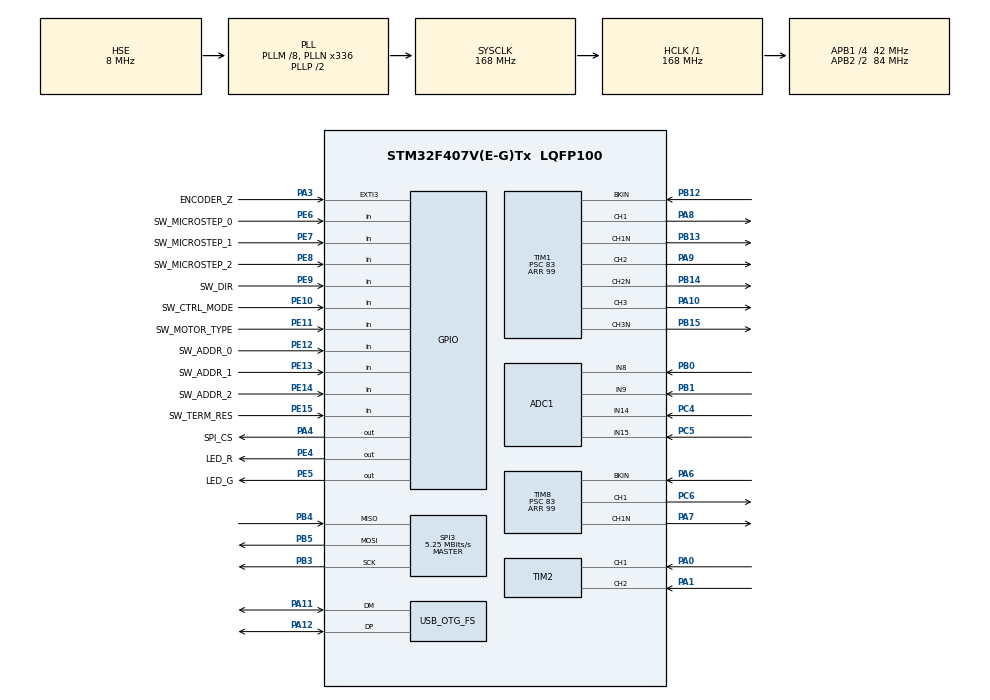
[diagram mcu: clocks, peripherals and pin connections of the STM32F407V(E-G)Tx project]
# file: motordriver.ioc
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ADC1.Channel-0\#ChannelRegularConversion=ADC_CHANNEL_8
ADC1.Channel-1\#ChannelInjectedConversion=ADC_CHANNEL_14
ADC1.Channel-2\#ChannelInjectedConversion=ADC_CHANNEL_15
ADC1.EOCSelection=ADC_EOC_SINGLE_CONV
ADC1.ExternalTrigInjecConv=ADC_INJECTED_SOFTWARE_START
ADC1.ExternalTrigInjecConvEdge=ADC_EXTERNALTRIGINJECCONVEDGE_NONE
ADC1.InjNumberOfConversion=2
ADC1.InjectedOffset-1\#ChannelInjectedConversion=0
ADC1.InjectedOffset-2\#ChannelInjectedConversion=0
ADC1.InjectedRank-1\#ChannelInjectedConversion=1
ADC1.InjectedRank-2\#ChannelInjectedConversion=2
ADC1.NbrOfConversionFlag=1
ADC1.Rank-0\#ChannelRegularConversion=1
ADC1.SamplingTime-0\#ChannelRegularConversion=ADC_SAMPLETIME_84CYCLES
ADC1.SamplingTime-1\#ChannelInjectedConversion=ADC_SAMPLETIME_56CYCLES
ADC1.SamplingTime-2\#ChannelInjectedConversion=ADC_SAMPLETIME_56CYCLES
ADC1.ScanConvMode=ENABLE
ADC1.master=1
Mcu.Family=STM32F4
Mcu.Name=STM32F407V(E-G)Tx
Mcu.Package=LQFP100
NVIC.ADC_IRQn=true\:4\:0\:true\:false\:true\:true\:true\:true
NVIC.EXTI3_IRQn=true\:6\:0\:true\:false\:true\:true\:true\:true
NVIC.OTG_FS_IRQn=true\:7\:0\:true\:false\:true\:false\:true\:true
NVIC.PriorityGroup=NVIC_PRIORITYGROUP_4
NVIC.TIM6_DAC_IRQn=true\:5\:0\:true\:false\:true\:true\:true\:true
PA0-WKUP.GPIO_PuPd=GPIO_NOPULL
PA0-WKUP.GPIO_Speed=GPIO_SPEED_FREQ_HIGH
PA0-WKUP.Signal=S_TIM2_CH1_ETR
PA1.GPIO_Speed=GPIO_SPEED_FREQ_HIGH
PA1.Signal=S_TIM2_CH2
PA10.Signal=S_TIM1_CH3
PA11.Mode=Device_Only
PA11.Signal=USB_OTG_FS_DM
PA12.Mode=Device_Only
PA12.Signal=USB_OTG_FS_DP
PA13.Mode=Serial_Wire
PA13.Signal=SYS_JTMS-SWDIO
PA14.Mode=Serial_Wire
PA14.Signal=SYS_JTCK-SWCLK
PA3.GPIO_Label=ENCODER_Z
PA3.GPIO_ModeDefaultEXTI=GPIO_MODE_IT_RISING
PA3.Signal=GPXTI3
PA4.GPIO_Label=SPI_CS
PA4.GPIO_Speed=GPIO_SPEED_FREQ_HIGH
PA4.PinState=GPIO_PIN_SET
PA4.Signal=GPIO_Output
PA6.GPIO_PuPd=GPIO_PULLUP
PA6.Mode=Activate-Break-Input
PA6.Signal=TIM8_BKIN
PA7.Mode=PWM Generation1 CH1 CH1N
PA7.Signal=TIM8_CH1N
PA8.Signal=S_TIM1_CH1
PA9.Signal=S_TIM1_CH2
PB0.Signal=ADCx_IN8
PB1.Signal=ADCx_IN9
PB12.GPIO_PuPd=GPIO_PULLUP
PB12.Mode=Activate-Break-Input
PB12.Signal=TIM1_BKIN
PB13.Mode=PWM Generation1 CH1 CH1N
PB13.Signal=TIM1_CH1N
PB14.Mode=PWM Generation2 CH2 CH2N
PB14.Signal=TIM1_CH2N
PB15.Mode=PWM Generation3 CH3 CH3N
PB15.Signal=TIM1_CH3N
PB3.Mode=Full_Duplex_Master
PB3.Signal=SPI3_SCK
PB4.Mode=Full_Duplex_Master
PB4.Signal=SPI3_MISO
PB5.Mode=Full_Duplex_Master
PB5.Signal=SPI3_MOSI
PC4.Signal=ADCx_IN14
PC5.Signal=ADCx_IN15
PC6.Signal=S_TIM8_CH1
PE10.GPIO_Label=SW_CTRL_MODE
PE10.GPIO_PuPd=GPIO_PULLUP
PE10.Signal=GPIO_Input
PE11.GPIO_Label=SW_MOTOR_TYPE
PE11.GPIO_PuPd=GPIO_PULLUP
PE11.Signal=GPIO_Input
PE12.GPIO_Label=SW_ADDR_0
PE12.GPIO_PuPd=GPIO_PULLUP
PE12.Signal=GPIO_Input
PE13.GPIO_Label=SW_ADDR_1
PE13.GPIO_PuPd=GPIO_PULLUP
PE13.Signal=GPIO_Input
PE14.GPIO_Label=SW_ADDR_2
PE14.GPIO_PuPd=GPIO_PULLUP
PE14.Signal=GPIO_Input
PE15.GPIO_Label=SW_TERM_RES
PE15.GPIO_PuPd=GPIO_PULLUP
PE15.Signal=GPIO_Input
PE4.GPIO_Label=LED_R
PE4.GPIO_PuPd=GPIO_PULLUP
PE4.PinState=GPIO_PIN_SET
PE4.Signal=GPIO_Output
PE5.GPIO_Label=LED_G
PE5.GPIO_PuPd=GPIO_PULLUP
PE5.PinState=GPIO_PIN_SET
PE5.Signal=GPIO_Output
PE6.GPIO_Label=SW_MICROSTEP_0
PE6.GPIO_PuPd=GPIO_PULLUP
PE6.Signal=GPIO_Input
PE7.GPIO_Label=SW_MICROSTEP_1
PE7.GPIO_PuPd=GPIO_PULLUP
PE7.Signal=GPIO_Input
PE8.GPIO_Label=SW_MICROSTEP_2
PE8.GPIO_Mode=GPIO_MODE_INPUT
PE8.GPIO_PuPd=GPIO_PULLUP
PE8.Signal=GPIO_Input
PE9.GPIO_Label=SW_DIR
PE9.GPIO_PuPd=GPIO_PULLUP
PE9.Signal=GPIO_Input
PH0-OSC_IN.Mode=HSE-External-Oscillator
PH0-OSC_IN.Signal=RCC_OSC_IN
PH1-OSC_OUT.Mode=HSE-External-Oscillator
PH1-OSC_OUT.Signal=RCC_OSC_OUT
ProjectManager.HeapSize=0x600
ProjectManager.StackSize=0x400
ProjectManager.TargetToolchain=MDK-ARM V5.32
RCC.48MHZClocksFreq_Value=48000000
RCC.AHBFreq_Value=168000000
RCC.APB1CLKDivider=RCC_HCLK_DIV4
RCC.APB1Freq_Value=42000000
RCC.APB1TimFreq_Value=84000000
RCC.APB2CLKDivider=RCC_HCLK_DIV2
RCC.APB2Freq_Value=84000000
RCC.APB2TimFreq_Value=168000000
RCC.CortexFreq_Value=168000000
RCC.HCLKFreq_Value=168000000
RCC.HSE_VALUE=8000000
RCC.HSI_VALUE=16000000
RCC.LSE_VALUE=32768
RCC.PLLM=8
RCC.PLLN=336
RCC.PLLQ=7
RCC.SYSCLKFreq_VALUE=168000000
RCC.SYSCLKSource=RCC_SYSCLKSOURCE_PLLCLK
RCC.VCOOutputFreq_Value=336000000
SH.ADCx_IN14.0=ADC1_IN14,IN14
SH.ADCx_IN15.0=ADC1_IN15,IN15
SH.ADCx_IN8.0=ADC1_IN8,IN8
SH.ADCx_IN9.0=ADC1_IN9,IN9
SH.S_TIM1_CH1.0=TIM1_CH1,PWM Generation1 CH1 CH1N
SH.S_TIM1_CH2.0=TIM1_CH2,PWM Generation2 CH2 CH2N
SH.S_TIM1_CH3.0=TIM1_CH3,PWM Generation3 CH3 CH3N
SH.S_TIM2_CH1_ETR.0=TIM2_CH1,Encoder_Interface
SH.S_TIM2_CH2.0=TIM2_CH2,Encoder_Interface
SH.S_TIM8_CH1.0=TIM8_CH1,PWM Generation1 CH1 CH1N
SPI3.BaudRatePrescaler=SPI_BAUDRATEPRESCALER_8
SPI3.CLKPhase=SPI_PHASE_2EDGE
SPI3.CLKPolarity=SPI_POLARITY_HIGH
SPI3.CalculateBaudRate=5.25 MBits/s
SPI3.DataSize=SPI_DATASIZE_16BIT
SPI3.Direction=SPI_DIRECTION_2LINES
SPI3.Mode=SPI_MODE_MASTER
SPI3.VirtualType=VM_MASTER
TIM1.AutomaticOutput=TIM_AUTOMATICOUTPUT_ENABLE
TIM1.BreakPolarity=TIM_BREAKPOLARITY_LOW
TIM1.BreakState=TIM_BREAK_ENABLE
TIM1.Channel-PWM\ Generation1\ CH1\ CH1N=TIM_CHANNEL_1
TIM1.Channel-PWM\ Generation2\ CH2\ CH2N=TIM_CHANNEL_2
TIM1.Channel-PWM\ Generation3\ CH3\ CH3N=TIM_CHANNEL_3
TIM1.Channel-PWM\ Generation4\ No\ Output=TIM_CHANNEL_4
TIM1.OCIdleState_1=TIM_OCIDLESTATE_SET
TIM1.OCIdleState_2=TIM_OCIDLESTATE_SET
TIM1.OCIdleState_3=TIM_OCIDLESTATE_SET
TIM1.OCMode_PWM-PWM\ Generation4\ No\ Output=TIM_OCMODE_PWM2
TIM1.OCNIdleState_1=TIM_OCNIDLESTATE_RESET
TIM1.OCNIdleState_2=TIM_OCNIDLESTATE_RESET
TIM1.OCNIdleState_3=TIM_OCNIDLESTATE_RESET
TIM1.OCNPolarity_1=TIM_OCNPOLARITY_LOW
TIM1.OCNPolarity_2=TIM_OCNPOLARITY_LOW
TIM1.OCNPolarity_3=TIM_OCNPOLARITY_LOW
TIM1.OffStateIDLEMode=TIM_OSSI_ENABLE
TIM1.OffStateRunMode=TIM_OSSR_ENABLE
TIM1.Period=99
TIM1.Prescaler=83
TIM1.Pulse-PWM\ Generation1\ CH1\ CH1N=49
TIM1.Pulse-PWM\ Generation2\ CH2\ CH2N=49
TIM1.Pulse-PWM\ Generation3\ CH3\ CH3N=49
TIM1.Pulse-PWM\ Generation4\ No\ Output=50
TIM1.TIM_MasterOutputTrigger=TIM_TRGO_OC4REF
TIM2.EncoderMode=TIM_ENCODERMODE_TI12
TIM2.IC1Filter=6
TIM2.IC2Filter=6
TIM6.Period=99
TIM6.Prescaler=83
TIM8.BreakPolarity=TIM_BREAKPOLARITY_LOW
TIM8.BreakState=TIM_BREAK_ENABLE
TIM8.Channel-PWM\ Generation1\ CH1\ CH1N=TIM_CHANNEL_1
TIM8.OCIdleState_1=TIM_OCIDLESTATE_SET
TIM8.OCNIdleState_1=TIM_OCNIDLESTATE_RESET
TIM8.OCNPolarity_1=TIM_OCNPOLARITY_LOW
TIM8.OffStateIDLEMode=TIM_OSSI_ENABLE
TIM8.OffStateRunMode=TIM_OSSR_ENABLE
TIM8.Period=99
TIM8.Prescaler=83
USB_DEVICE.CLASS_NAME_FS=CDC
USB_DEVICE.VirtualMode-CDC_FS=Cdc
USB_DEVICE.VirtualModeFS=Cdc_FS
USB_OTG_FS.VirtualMode=Device_Only
VP_TIM1_VS_ClockSourceINT.Mode=Internal
VP_TIM1_VS_no_output4.Mode=PWM Generation4 No Output
VP_TIM6_VS_ClockSourceINT.Mode=Enable_Timer
VP_TIM8_VS_ClockSourceINT.Mode=Internal
VP_USB_DEVICE_VS_USB_DEVICE_CDC_FS.Mode=CDC_FS
board=custom

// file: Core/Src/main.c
/* USER CODE BEGIN Header */
/**
  ******************************************************************************
  * @file           : main.c
  * @brief          : Main program body
  ******************************************************************************
  * @attention
  *
  * Copyright (c) 2026 STMicroelectronics.
  * All rights reserved.
  *
  * This software is licensed under terms that can be found in the LICENSE file
  * in the root directory of this software component.
  * If no LICENSE file comes with this software, it is provided AS-IS.
  *
  ******************************************************************************
  */
/* USER CODE END Header */
#include "main.h"
#include "adc.h"
#include "spi.h"
#include "tim.h"
#include "usb_device.h"
#include "gpio.h"

/* USER CODE BEGIN Includes */
#include "FOC.h"
#include "adc_task.h"
#include "vofa.h"
#include "PID.h"
#include "connecting.h"
#include "mt6816.h"
#include "myflash.h"
#include "usbd_cdc_if.h"
#include "math.h"
/* USER CODE END Includes */

/* USER CODE BEGIN PD */
#ifndef M_PI
#define M_PI 3.14159265358979323846
#endif

#define CURRENT_LOOP_HZ            10000.0f
#define SPEED_LOOP_DIV             10U
#define SPEED_LOOP_PERIOD          (SPEED_LOOP_DIV / CURRENT_LOOP_HZ)
#define VOFA_DEBUG_DIV             20U
#define FORCE_MT6816_CALIBRATION   0U
#define SAFE_TEST_IQ_CURRENT       0.10f
#define SAFE_TEST_SPEED_RPM        20.0f
/* USER CODE END PD */

/* USER CODE BEGIN PV */
uint32_t add_angle = 0;
float current[2] = {0.0f, 0.0f};
float vol = 0.0f;
float temperature = 0.0f;
extern float speed_send;
uint8_t Iadjust = 1U;
uint8_t cchar[4][4] = {0};
float adc_rank_debug[2] = {0.0f, 0.0f};
float adc_cb_debug = 0.0f;
uint16_t iq_step_debug = 0U;
uint8_t erro_flag = 0U;
uint8_t limit_vol = 8U;
uint16_t a_angle = 0U;
static uint32_t motor_protect_current_enable_ms = 0U;
/* USER CODE END PV */

void SystemClock_Config(void);
/* USER CODE BEGIN PFP */
static void motor_protect(void);
static void motor_control_init(void);
static void speed_loop_run(void);
static uint8_t flash_calibration_ready(void);
static void vofa_debug_send(void);
/* USER CODE END PFP */

/* USER CODE BEGIN 0 */
static uint8_t flash_calibration_ready(void)
{
  uint16_t dir = flash_read_dir(DIR_AD);
  return (uint8_t)((dir == 11U) || (dir == 22U));
}

static void vofa_debug_send(void)
{
  VOFA_SendFrame6(speed_pi.target,
                  speed_send,
                  m1_foc.tar_Iq,
                  m1_foc.Iq,
                  m1_foc.Id,
                  (float)mt6816_count);
}

static void motor_protect(void)
{
  if(temperature > 100.0f || (vol > 25.0f || vol < 7.0f))
  {
    connect_crt.motor_mode = 0U;
    set_uduq(&m1_foc, 0.0f, 0.0f);
    foc_open(&m1_foc, 0U);
    erro_flag = 1U;
  }
  else if(mt6816_flag == 1U)
  {
    erro_flag = 0U;
  }
}

static void speed_loop_run(void)
{
  float speed_error;
  static uint8_t vofa_div = 0U;

  speed_pi.actual_value = 0.9f * speed_pi.actual_value + 0.1f * Calculate_Speed(SPEED_LOOP_PERIOD);
  speed_send = speed_pi.actual_value;

  if(connect_crt.motor_mode == 2U)
  {
    speed_error = speed_pi.target - speed_pi.actual_value;
    set_foc_Iqcurrent(&m1_foc, PID_Controller_Update(&speed_pi, speed_error));
  }
  else if(connect_crt.motor_mode == 1U)
  {
    set_foc_Iqcurrent(&m1_foc, connect_crt.drive_current);
  }
  else
  {
    speed_pi.integral = 0.0f;
    speed_pi.last_err = 0.0f;
    set_foc_Iqcurrent(&m1_foc, 0.0f);
  }

  vofa_div++;
  if(vofa_div >= VOFA_DEBUG_DIV)
  {
    vofa_div = 0U;
    vofa_debug_send();
  }
}

static void motor_control_init(void)
{
  VOFA_Init();
  init_connect_crt(&connect_crt);
  MT6816_SPI_CS_H();
  HAL_Delay(10);

  vol = get_vol();
  temperature = get_temp();

  if(check_mt6816())
  {
    mt6816_flag = 1U;
  }
  else
  {
    mt6816_flag = 0U;
    Error_Handler();
  }

  can_foc_init();
  if(FORCE_MT6816_CALIBRATION || !flash_calibration_ready())
  {
    REIN_mt6816_spi_data_Signal_Init();
    return;
  }

  calibrate_current_offset(64U);
  Iadjust = 0U;
  b_foc_init();
  init_encoder_update();

connect_crt.motor_mode = 1U;
connect_crt.max_current = SAFE_TEST_IQ_CURRENT;
connect_crt.drive_current = 0.05f;
connect_crt.speed = 0.0f;
speed_pi.target = 0.0f;

m1_foc.tar_Id = 0.0f;
set_foc_Iqcurrent(&m1_foc, connect_crt.drive_current);

  motor_protect_current_enable_ms = HAL_GetTick() + 1500U;
  HAL_TIM_Base_Start_IT(&htim6);

}
/* USER CODE END 0 */

int main(void)
{

  /* MCU Configuration--------------------------------------------------------*/

  /* Reset of all peripherals, Initializes the Flash interface and the Systick. */
  HAL_Init();

  /* Configure the system clock */
  SystemClock_Config();

  /* Initialize all configured peripherals */
  MX_GPIO_Init();
  MX_USB_DEVICE_Init();
  MX_TIM1_Init();
  MX_TIM8_Init();
  MX_TIM6_Init();
  MX_ADC1_Init();
  MX_TIM2_Init();
  MX_SPI3_Init();

  /* USER CODE BEGIN 2 */
  motor_control_init();
  /* USER CODE END 2 */

  /* Infinite loop */
  /* USER CODE BEGIN WHILE */
  while (1)
  {
    VOFA_Process();
    /* USER CODE END WHILE */

  }
}

void SystemClock_Config(void)
{
  RCC_OscInitTypeDef RCC_OscInitStruct = {0};
  RCC_ClkInitTypeDef RCC_ClkInitStruct = {0};

  __HAL_RCC_PWR_CLK_ENABLE();
  __HAL_PWR_VOLTAGESCALING_CONFIG(PWR_REGULATOR_VOLTAGE_SCALE1);

  RCC_OscInitStruct.OscillatorType = RCC_OSCILLATORTYPE_HSE;
  RCC_OscInitStruct.HSEState = RCC_HSE_ON;
  RCC_OscInitStruct.PLL.PLLState = RCC_PLL_ON;
  RCC_OscInitStruct.PLL.PLLSource = RCC_PLLSOURCE_HSE;
  RCC_OscInitStruct.PLL.PLLM = 8;
  RCC_OscInitStruct.PLL.PLLN = 336;
  RCC_OscInitStruct.PLL.PLLP = RCC_PLLP_DIV2;
  RCC_OscInitStruct.PLL.PLLQ = 7;
  if (HAL_RCC_OscConfig(&RCC_OscInitStruct) != HAL_OK)
  {
    Error_Handler();
  }

  RCC_ClkInitStruct.ClockType = RCC_CLOCKTYPE_HCLK | RCC_CLOCKTYPE_SYSCLK
                              | RCC_CLOCKTYPE_PCLK1 | RCC_CLOCKTYPE_PCLK2;
  RCC_ClkInitStruct.SYSCLKSource = RCC_SYSCLKSOURCE_PLLCLK;
  RCC_ClkInitStruct.AHBCLKDivider = RCC_SYSCLK_DIV1;
  RCC_ClkInitStruct.APB1CLKDivider = RCC_HCLK_DIV4;
  RCC_ClkInitStruct.APB2CLKDivider = RCC_HCLK_DIV2;

  if (HAL_RCC_ClockConfig(&RCC_ClkInitStruct, FLASH_LATENCY_5) != HAL_OK)
  {
    Error_Handler();
  }
}

/* USER CODE BEGIN 4 */
void HAL_TIM_PeriodElapsedCallback(TIM_HandleTypeDef *htim)
{
  static uint8_t speed_loop_count = 0U;

  if(htim->Instance == TIM6)
  {
    HAL_ADCEx_InjectedStart_IT(&hadc1);
    speed_loop_count++;
    if(speed_loop_count >= SPEED_LOOP_DIV)
    {
      speed_loop_count = 0U;
      speed_loop_run();
      vol = get_vol();
      temperature = get_temp();
      motor_protect();
    }
  }
}

void HAL_ADCEx_InjectedConvCpltCallback(ADC_HandleTypeDef* hadc)
{
  uint16_t foc_angle;

  if(hadc == &hadc1)
  {
    adc_rank_debug[0] = (float)HAL_ADCEx_InjectedGetValue(&hadc1, ADC_INJECTED_RANK_1);
    adc_rank_debug[1] = (float)HAL_ADCEx_InjectedGetValue(&hadc1, ADC_INJECTED_RANK_2);
    adc_cb_debug += 1.0f;
    if(adc_cb_debug > 1000000.0f)
    {
      adc_cb_debug = 0.0f;
    }

    if(encoder_adjust_flag)
    {
      mt6816_count = (uint16_t)REIN_MT6816_GetAngleData();
    }

    if(connect_crt.motor_mode != 0U && Iadjust == 0U)
    {
      Encoder_Update();
      get_AB_current(&m1_foc);
      Sector_tracker();

      foc_angle = (uint16_t)((m1_foc.angle + 256 * (m1_foc.angle_sector % 4) + m1_foc.lead_angle) & 0x03FF);
      current_ctr(&m1_foc, foc_angle);
    }
    else if(Iadjust != 0U)
    {
      adjust_I();
    }
  }
}
/* USER CODE END 4 */

void Error_Handler(void)
{
  __disable_irq();
  while (1)
  {
  }
}
